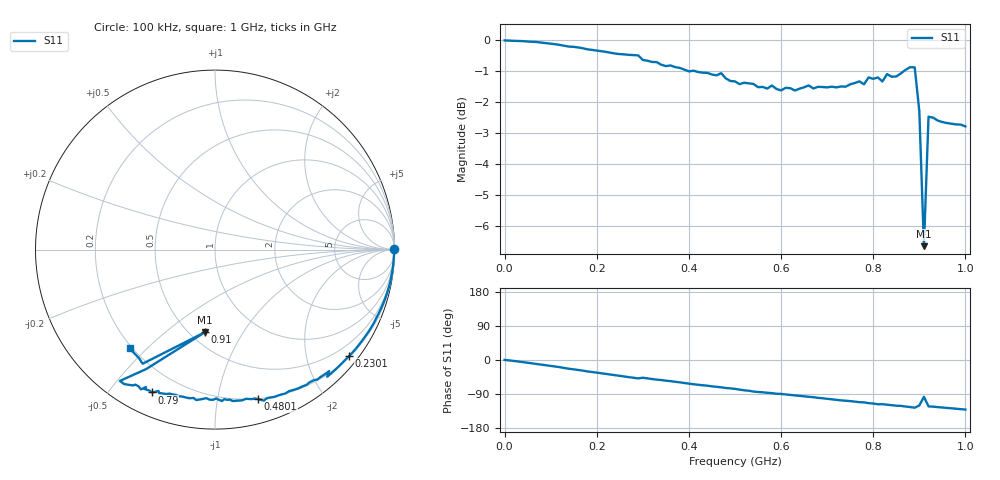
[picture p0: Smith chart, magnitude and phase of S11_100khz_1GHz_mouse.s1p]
# HZ S RI R 50
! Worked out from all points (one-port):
!   101 points, 100 kHz to 1 GHz, reference 50 ohm
!   lowest |S11| = -6.7 dB at 910 MHz (marker M1), VSWR 2.74, Z = 29.5 - j34.6 ohm
!   |S11| at or under -10 dB: nowhere
!   S11 on the Smith chart (normalised r, x): 100 kHz: open; 230.1 MHz: 0.22, -2.86; 480.1 MHz: 0.20, -1.31; 790 MHz: 0.10, -0.65; 910 MHz: 0.59, -0.69; 1 GHz: 0.19, -0.44
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100000  0.9987 0.00436
7.0093e7  0.9757 -0.183
1.30087e8  0.9128 -0.3539
1.80082e8  0.8351 -0.4859
2.30077e8  0.7476 -0.5928
2.50075e8  0.7074 -0.6329
2.90071e8  0.6252 -0.7081
3.0007e8  0.636 -0.6768
3.80062e8  0.4652 -0.7726
4.70053e8  0.2721 -0.8414
4.80052e8  0.2412 -0.8331
5.0005e8  0.2033 -0.8332
5.40046e8  0.0995 -0.8438
6.30037e8  -0.0493 -0.8275
6.60034e8  -0.1044 -0.8384
7.50025e8  -0.2693 -0.8044
7.80022e8  -0.315 -0.7878
7.90021e8  -0.3524 -0.796
8.10019e8  -0.3925 -0.7768
8.20018e8  -0.3845 -0.7664
8.30017e8  -0.413 -0.7785
8.50015e8  -0.4444 -0.7522
8.80012e8  -0.5066 -0.7489
8.90011e8  -0.53 -0.7317
9.0001e8  -0.3833 -0.6655
9.10009e8  -0.0576 -0.4611
9.20008e8  -0.4024 -0.6355
1e9  -0.4734 -0.5496
